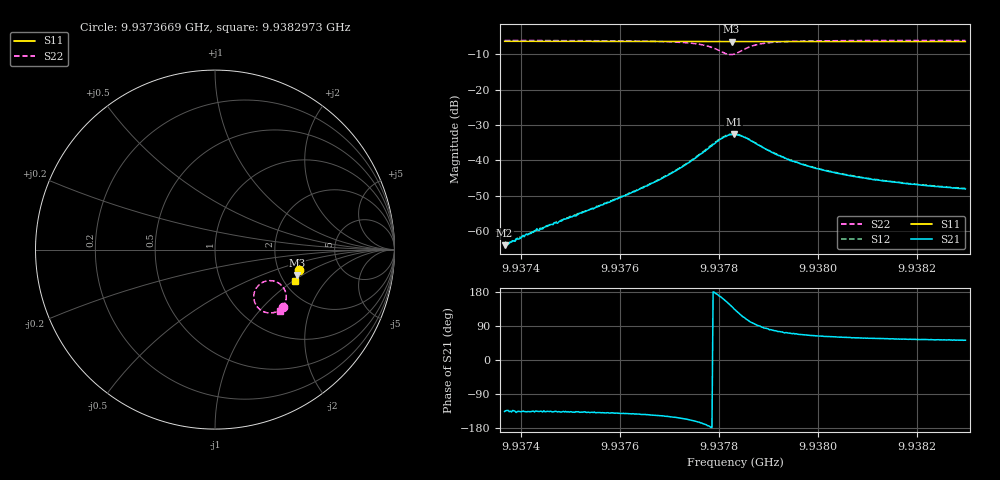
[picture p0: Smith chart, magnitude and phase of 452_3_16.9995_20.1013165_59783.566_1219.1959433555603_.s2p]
#  HZ  S  RI  R  50.00
! Rohde & Schwarz Vector Network Analyzer
! Rohde-Schwarz,ZNB20-2Port,1311601062101988,3.16
! Created: UTC 3/20/2024, 11:12:19 PM
! freq[Hz]  re:S11  im:S11  re:S21  im:S21  re:S12  im:S12  re:S22  im:S22
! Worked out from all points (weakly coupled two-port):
!   401 points, 9.9373669 GHz to 9.9382973 GHz, reference 50 ohm
!   highest |S21| = -32.67 dB at 9.9378298 GHz (marker M1); lowest = -64.1 dB at 9.9373669 GHz (marker M2)
!   lowest |S11| = -6.4 dB at 9.9378251 GHz (marker M3), VSWR 2.84, Z = 122 - j45 ohm
!   |S11| at or under -10 dB: nowhere
!   |S22| runs from -10.1 to -6.1 dB; largest |S21 - S12| = 0.0011
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9.93736689e9  0.4699 -0.113  -0.000448 -0.000437  -0.000425 -0.000436  0.3799 -0.3212
9.93742736e9  0.4685 -0.117  -0.000718 -0.00067  -0.000751 -0.000672  0.3747 -0.3256
9.937439e9  0.4684 -0.1176  -0.000753 -0.000747  -0.000805 -0.000754  0.3739 -0.3269
9.93745528e9  0.4679 -0.1188  -0.000849 -0.000832  -0.000852 -0.000826  0.3723 -0.3279
9.93752273e9  0.4666 -0.1234  -0.00133 -0.00121  -0.00138 -0.00122  0.3646 -0.3338
9.93761113e9  0.4645 -0.1292  -0.00247 -0.00199  -0.00255 -0.00197  0.35 -0.3426
9.93767858e9  0.4627 -0.1338  -0.0044 -0.00292  -0.00454 -0.00287  0.3306 -0.3501
9.93773208e9  0.4611 -0.1375  -0.00787 -0.00356  -0.00809 -0.00348  0.2996 -0.3531
9.93777163e9  0.4594 -0.1401  -0.0133 -0.00238  -0.0137 -0.00223  0.2552 -0.3375
9.93780419e9  0.4578 -0.1415  -0.0195 0.00497  -0.0198 0.00563  0.2164 -0.271
9.93781582e9  0.4572 -0.1416  -0.0198 0.0101  -0.0198 0.0109  0.2224 -0.2301
9.93782513e9  0.4572 -0.1416  -0.0181 0.0144  -0.0179 0.0152  0.2421 -0.1995
9.93782978e9  0.4573 -0.1416  -0.0165 0.0164  -0.0164 0.0171  0.2567 -0.1877
9.93783211e9  0.4572 -0.1416  -0.0156 0.017  -0.0155 0.0179  0.2645 -0.183
9.93785304e9  0.4577 -0.1426  -0.00703 0.0198  -0.00651 0.0201  0.3357 -0.1775
9.93788328e9  0.458 -0.1448  0.000252 0.0159  0.00075 0.016  0.386 -0.2202
9.93791585e9  0.4576 -0.1472  0.00282 0.0117  0.00301 0.012  0.3967 -0.2571
9.93793911e9  0.457 -0.1489  0.00333 0.0098  0.00349 0.00978  0.3962 -0.2745
9.93798795e9  0.4559 -0.1526  0.00341 0.0072  0.00357 0.00721  0.3911 -0.2967
9.93806704e9  0.4539 -0.1578  0.00312 0.00514  0.00322 0.00516  0.3818 -0.3159
9.9381438e9  0.4519 -0.1627  0.00281 0.00414  0.00291 0.00413  0.3739 -0.3268
9.93829733e9  0.4474 -0.1726  0.00241 0.00309  0.00252 0.00309  0.3618 -0.341
